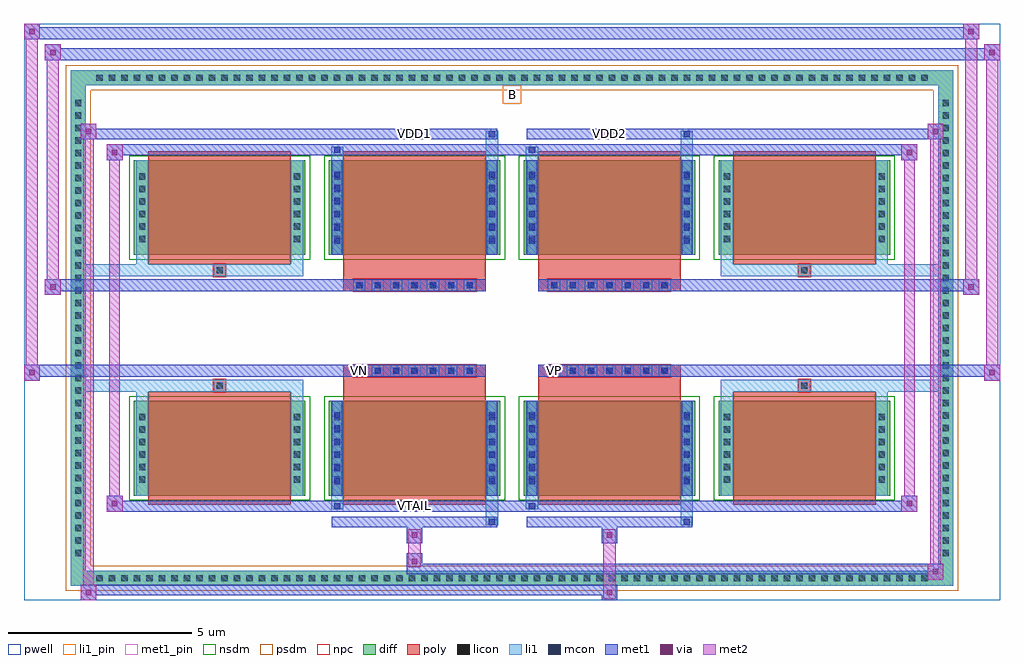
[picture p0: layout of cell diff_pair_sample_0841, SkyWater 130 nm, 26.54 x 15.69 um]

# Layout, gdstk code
import gdstk
lib = gdstk.Library(unit=1e-6, precision=5e-09)
def R(c, l, rs):  # rectangles x0, y0, x1, y1
    for r in rs: c.add(gdstk.rectangle(r[:2], r[2:], *l))
def A(c, l, x, y, w, h, nx, ny, dx, dy):  # array of equal rectangles
    R(c, l, [(x+i*dx, y+j*dy, x+i*dx+w, y+j*dy+h) for i in range(nx) for j in range(ny)])
def P(c, l, *ps):  # polygons
    for p in ps: c.add(gdstk.Polygon(p, *l))
pwell = (64, 44)
diff = (65, 20)
poly = (66, 20)
licon = (66, 44)
li1_pin = (67, 16)
li1 = (67, 20)
mcon = (67, 44)
met1_pin = (68, 16)
met1 = (68, 20)
via = (68, 44)
met2 = (69, 20)
nsdm = (93, 44)
psdm = (94, 20)
npc = (95, 20)

diff_pair_sample_0841 = lib.new_cell('diff_pair_sample_0841')
R(diff_pair_sample_0841, pwell, [(-13.27,-7.41,13.27,8.28), (-10.59,-5.6,-0.01,-0.8), (0.01,-5.6,10.59,-0.8), (-10.59,0.8,-0.01,5.6), (0.01,0.8,10.59,5.6)])
A(diff_pair_sample_0841, diff, -11.425, -7.01, 0.41, 0.41, 67, 2, 0.34, 13.61)
A(diff_pair_sample_0841, diff, -12, -6.325, 0.41, 0.41, 1, 37, 0, 0.34)
A(diff_pair_sample_0841, diff, 11.59, -6.325, 0.41, 0.41, 1, 37, 0, 0.34)
A(diff_pair_sample_0841, diff, -10.28, -4.555, 4.66, 2.57, 4, 2, 5.3, 6.54)
R(diff_pair_sample_0841, diff, [(-11.425,-7.01,11.425,-6.6), (-12,-6.325,-11.59,6.325), (11.59,-6.325,12,6.325), (-11.425,6.6,11.425,7.01)])
P(diff_pair_sample_0841, diff, [(12,7.01),(-12,7.01),(-12,-6.6),(-11.59,-6.6),(-11.59,6.6),(11.59,6.6),(11.59,-6.6),(-11.59,-6.6),(-12,-6.6),(-12,-7.01),(12,-7.01)])
A(diff_pair_sample_0841, poly, -9.89, -4.805, 3.88, 3.07, 4, 2, 5.3, 6.54)
A(diff_pair_sample_0841, poly, -4.315, -1.33, 0.33, 0.33, 7, 2, 0.5, 2.33)
A(diff_pair_sample_0841, poly, 0.985, -1.33, 0.33, 0.33, 7, 2, 0.5, 2.33)
R(diff_pair_sample_0841, poly, [(-8.115,-1.735,-7.785,-1.405), (-8.115,-1.735,-7.785,-1.405), (-4.59,-1.735,-0.71,-1.33), (0.71,-1.735,4.59,-1.33), (7.785,-1.735,8.115,-1.405), (7.785,-1.735,8.115,-1.405), (-4.59,-1.33,-0.71,-1), (0.71,-1.33,4.59,-1), (-4.59,1,-0.71,1.33), (0.71,1,4.59,1.33), (-4.59,1.33,-0.71,1.735), (0.71,1.33,4.59,1.735), (-8.115,1.405,-7.785,1.735), (-8.115,1.405,-7.785,1.735), (7.785,1.405,8.115,1.735), (7.785,1.405,8.115,1.735)])
A(diff_pair_sample_0841, licon, -11.305, -6.89, 0.17, 0.17, 67, 2, 0.34, 13.61)
A(diff_pair_sample_0841, licon, -11.88, -6.205, 0.17, 0.17, 1, 37, 0, 0.34)
A(diff_pair_sample_0841, licon, 11.71, -6.205, 0.17, 0.17, 1, 37, 0, 0.34)
A(diff_pair_sample_0841, licon, -10.14, -4.205, 0.17, 0.17, 1, 6, 0, 0.34)
A(diff_pair_sample_0841, licon, -5.93, -4.205, 0.17, 0.17, 1, 6, 0, 0.34)
A(diff_pair_sample_0841, licon, -4.84, -4.205, 0.17, 0.17, 1, 6, 0, 0.34)
A(diff_pair_sample_0841, licon, -0.63, -4.205, 0.17, 0.17, 1, 6, 0, 0.34)
A(diff_pair_sample_0841, licon, 0.46, -4.205, 0.17, 0.17, 1, 6, 0, 0.34)
A(diff_pair_sample_0841, licon, 4.67, -4.205, 0.17, 0.17, 1, 6, 0, 0.34)
A(diff_pair_sample_0841, licon, 5.76, -4.205, 0.17, 0.17, 1, 6, 0, 0.34)
A(diff_pair_sample_0841, licon, 9.97, -4.205, 0.17, 0.17, 1, 6, 0, 0.34)
A(diff_pair_sample_0841, licon, -4.235, -1.25, 0.17, 0.17, 7, 2, 0.5, 2.33)
A(diff_pair_sample_0841, licon, 1.065, -1.25, 0.17, 0.17, 7, 2, 0.5, 2.33)
A(diff_pair_sample_0841, licon, -10.14, 2.335, 0.17, 0.17, 1, 6, 0, 0.34)
A(diff_pair_sample_0841, licon, -5.93, 2.335, 0.17, 0.17, 1, 6, 0, 0.34)
A(diff_pair_sample_0841, licon, -4.84, 2.335, 0.17, 0.17, 1, 6, 0, 0.34)
A(diff_pair_sample_0841, licon, -0.63, 2.335, 0.17, 0.17, 1, 6, 0, 0.34)
A(diff_pair_sample_0841, licon, 0.46, 2.335, 0.17, 0.17, 1, 6, 0, 0.34)
A(diff_pair_sample_0841, licon, 4.67, 2.335, 0.17, 0.17, 1, 6, 0, 0.34)
A(diff_pair_sample_0841, licon, 5.76, 2.335, 0.17, 0.17, 1, 6, 0, 0.34)
A(diff_pair_sample_0841, licon, 9.97, 2.335, 0.17, 0.17, 1, 6, 0, 0.34)
R(diff_pair_sample_0841, licon, [(-8.035,-1.655,-7.865,-1.485), (7.865,-1.655,8.035,-1.485), (-8.035,1.485,-7.865,1.655), (7.865,1.485,8.035,1.655)])
R(diff_pair_sample_0841, li1_pin, [(-0.25,6.1,0.25,6.6)])
A(diff_pair_sample_0841, li1, -11.385, -6.97, 0.33, 0.33, 67, 2, 0.34, 13.61)
A(diff_pair_sample_0841, li1, -11.96, -6.285, 0.33, 0.33, 1, 37, 0, 0.34)
A(diff_pair_sample_0841, li1, 11.63, -6.285, 0.33, 0.33, 1, 37, 0, 0.34)
A(diff_pair_sample_0841, li1, -10.22, -4.285, 0.33, 0.33, 1, 6, 0, 0.34)
A(diff_pair_sample_0841, li1, -6.01, -4.285, 0.33, 0.33, 1, 6, 0, 0.34)
A(diff_pair_sample_0841, li1, -4.92, -4.285, 0.33, 0.33, 1, 6, 0, 0.34)
A(diff_pair_sample_0841, li1, -0.71, -4.285, 0.33, 0.33, 1, 6, 0, 0.34)
A(diff_pair_sample_0841, li1, 0.38, -4.285, 0.33, 0.33, 1, 6, 0, 0.34)
A(diff_pair_sample_0841, li1, 4.59, -4.285, 0.33, 0.33, 1, 6, 0, 0.34)
A(diff_pair_sample_0841, li1, 5.68, -4.285, 0.33, 0.33, 1, 6, 0, 0.34)
A(diff_pair_sample_0841, li1, 9.89, -4.285, 0.33, 0.33, 1, 6, 0, 0.34)
A(diff_pair_sample_0841, li1, -4.84, -4.255, 0.17, 0.17, 1, 6, 0, 0.36)
A(diff_pair_sample_0841, li1, -0.63, -4.255, 0.17, 0.17, 1, 6, 0, 0.36)
A(diff_pair_sample_0841, li1, 0.46, -4.255, 0.17, 0.17, 1, 6, 0, 0.36)
A(diff_pair_sample_0841, li1, 4.67, -4.255, 0.17, 0.17, 1, 6, 0, 0.36)
A(diff_pair_sample_0841, li1, -4.315, -1.33, 0.33, 0.33, 7, 2, 0.5, 2.33)
A(diff_pair_sample_0841, li1, 0.985, -1.33, 0.33, 0.33, 7, 2, 0.5, 2.33)
A(diff_pair_sample_0841, li1, -10.22, 2.255, 0.33, 0.33, 1, 6, 0, 0.34)
A(diff_pair_sample_0841, li1, -6.01, 2.255, 0.33, 0.33, 1, 6, 0, 0.34)
A(diff_pair_sample_0841, li1, -4.92, 2.255, 0.33, 0.33, 1, 6, 0, 0.34)
A(diff_pair_sample_0841, li1, -0.71, 2.255, 0.33, 0.33, 1, 6, 0, 0.34)
A(diff_pair_sample_0841, li1, 0.38, 2.255, 0.33, 0.33, 1, 6, 0, 0.34)
A(diff_pair_sample_0841, li1, 4.59, 2.255, 0.33, 0.33, 1, 6, 0, 0.34)
A(diff_pair_sample_0841, li1, 5.68, 2.255, 0.33, 0.33, 1, 6, 0, 0.34)
A(diff_pair_sample_0841, li1, 9.89, 2.255, 0.33, 0.33, 1, 6, 0, 0.34)
A(diff_pair_sample_0841, li1, -4.84, 2.285, 0.17, 0.17, 1, 6, 0, 0.36)
A(diff_pair_sample_0841, li1, -0.63, 2.285, 0.17, 0.17, 1, 6, 0, 0.36)
A(diff_pair_sample_0841, li1, 0.46, 2.285, 0.17, 0.17, 1, 6, 0, 0.36)
A(diff_pair_sample_0841, li1, 4.67, 2.285, 0.17, 0.17, 1, 6, 0, 0.36)
R(diff_pair_sample_0841, li1, [(-12,-7.01,-11.59,-6.6), (-12,-7.01,-11.59,-6.6), (-11.59,-7.01,11.59,-6.6), (11.59,-7.01,12,-6.6), (11.59,-7.01,12,-6.6), (-12,-6.6,-11.59,6.6), (11.59,-6.6,12,6.6), (-0.71,-5.36,-0.38,-4.555), (-0.63,-5.36,-0.46,-5.19), (4.59,-5.36,4.92,-4.555), (4.67,-5.36,4.84,-5.19), (-4.92,-4.93,-4.59,-4.555), (-4.84,-4.93,-4.67,-4.76), (0.38,-4.93,0.71,-4.555), (0.46,-4.93,0.63,-4.76), (-10.22,-4.555,-9.89,-1.985), (-6.01,-4.555,-5.68,-1.985), (-4.92,-4.555,-4.59,-1.985), (-0.71,-4.555,-0.38,-1.985), (0.38,-4.555,0.71,-1.985), (4.59,-4.555,4.92,-1.985), (5.68,-4.555,6.01,-1.985), (9.89,-4.555,10.22,-1.985), (-4.84,-4.255,-4.67,-2.285), (-0.63,-4.255,-0.46,-2.285), (0.46,-4.255,0.63,-2.285), (4.67,-4.255,4.84,-2.285), (-10.22,-1.985,-9.89,-1.405), (-6.01,-1.985,-5.68,-1.405), (5.68,-1.985,6.01,-1.405), (9.89,-1.985,10.22,-1.405), (-12,-1.735,-8.115,-1.405), (-10.22,-1.735,-8.115,-1.405), (-8.115,-1.735,-7.785,-1.405), (-7.785,-1.735,-5.68,-1.405), (5.68,-1.735,7.785,-1.405), (7.785,-1.735,8.115,-1.405), (7.785,-1.735,12,-1.405), (8.115,-1.735,10.22,-1.405), (-12,1.405,-8.115,1.735), (-10.22,1.405,-8.115,1.735), (-10.22,1.405,-9.89,1.985), (-8.115,1.405,-7.785,1.735), (-7.785,1.405,-5.68,1.735), (-6.01,1.405,-5.68,1.985), (5.68,1.405,7.785,1.735), (5.68,1.405,6.01,1.985), (7.785,1.405,8.115,1.735), (7.785,1.405,12,1.735), (8.115,1.405,10.22,1.735), (9.89,1.405,10.22,1.985), (-10.22,1.985,-9.89,4.555), (-6.01,1.985,-5.68,4.555), (-4.92,1.985,-4.59,4.555), (-0.71,1.985,-0.38,4.555), (0.38,1.985,0.71,4.555), (4.59,1.985,4.92,4.555), (5.68,1.985,6.01,4.555), (9.89,1.985,10.22,4.555), (-4.84,2.285,-4.67,4.255), (-0.63,2.285,-0.46,4.255), (0.46,2.285,0.63,4.255), (4.67,2.285,4.84,4.255), (-4.92,4.555,-4.59,4.93), (-0.71,4.555,-0.38,5.36), (0.38,4.555,0.71,4.93), (4.59,4.555,4.92,5.36), (-4.84,4.76,-4.67,4.93), (0.46,4.76,0.63,4.93), (-0.63,5.19,-0.46,5.36), (4.67,5.19,4.84,5.36), (-12,6.6,-11.59,7.01), (-12,6.6,-11.59,7.01), (-11.59,6.6,11.59,7.01), (11.59,6.6,12,7.01), (11.59,6.6,12,7.01)])
A(diff_pair_sample_0841, mcon, -4.84, -4.255, 0.17, 0.17, 1, 6, 0, 0.36)
A(diff_pair_sample_0841, mcon, -0.63, -4.255, 0.17, 0.17, 1, 6, 0, 0.36)
A(diff_pair_sample_0841, mcon, 0.46, -4.255, 0.17, 0.17, 1, 6, 0, 0.36)
A(diff_pair_sample_0841, mcon, 4.67, -4.255, 0.17, 0.17, 1, 6, 0, 0.36)
A(diff_pair_sample_0841, mcon, -4.235, -1.25, 0.17, 0.17, 7, 2, 0.5, 2.33)
A(diff_pair_sample_0841, mcon, 1.065, -1.25, 0.17, 0.17, 7, 2, 0.5, 2.33)
A(diff_pair_sample_0841, mcon, -4.84, 2.285, 0.17, 0.17, 1, 6, 0, 0.36)
A(diff_pair_sample_0841, mcon, -0.63, 2.285, 0.17, 0.17, 1, 6, 0, 0.36)
A(diff_pair_sample_0841, mcon, 0.46, 2.285, 0.17, 0.17, 1, 6, 0, 0.36)
A(diff_pair_sample_0841, mcon, 4.67, 2.285, 0.17, 0.17, 1, 6, 0, 0.36)
R(diff_pair_sample_0841, mcon, [(-0.63,-5.36,-0.46,-5.19), (4.67,-5.36,4.84,-5.19), (-4.84,-4.93,-4.67,-4.76), (0.46,-4.93,0.63,-4.76), (-4.84,4.76,-4.67,4.93), (0.46,4.76,0.63,4.93), (-0.63,5.19,-0.46,5.36), (4.67,5.19,4.84,5.36)])
R(diff_pair_sample_0841, met1_pin, [(-2.785,-4.97,-2.515,-4.7), (-4.285,-1.29,-4.015,-1.02), (1.015,-1.29,1.285,-1.02), (-2.785,5.15,-2.515,5.42), (2.515,5.15,2.785,5.42)])
A(diff_pair_sample_0841, met1, -4.9, -4.315, 0.29, 0.29, 1, 6, 0, 0.36)
A(diff_pair_sample_0841, met1, -0.69, -4.315, 0.29, 0.29, 1, 6, 0, 0.36)
A(diff_pair_sample_0841, met1, 0.4, -4.315, 0.29, 0.29, 1, 6, 0, 0.36)
A(diff_pair_sample_0841, met1, 4.61, -4.315, 0.29, 0.29, 1, 6, 0, 0.36)
A(diff_pair_sample_0841, met1, -4.295, -1.31, 0.29, 0.29, 7, 2, 0.5, 2.33)
A(diff_pair_sample_0841, met1, 1.005, -1.31, 0.29, 0.29, 7, 2, 0.5, 2.33)
A(diff_pair_sample_0841, met1, -4.9, 2.225, 0.29, 0.29, 1, 6, 0, 0.36)
A(diff_pair_sample_0841, met1, -0.69, 2.225, 0.29, 0.29, 1, 6, 0, 0.36)
A(diff_pair_sample_0841, met1, 0.4, 2.225, 0.29, 0.29, 1, 6, 0, 0.36)
A(diff_pair_sample_0841, met1, 4.61, 2.225, 0.29, 0.29, 1, 6, 0, 0.36)
R(diff_pair_sample_0841, met1, [(-11.73,-7.41,-11.3,-6.98), (2.435,-7.41,2.865,-6.98), (-11.73,-7.27,2.865,-6.98), (11.3,-6.84,11.73,-6.41), (-2.865,-6.7,11.73,-6.41), (-2.865,-6.56,-2.435,-6.13), (-2.865,-5.85,-2.435,-5.42), (2.435,-5.85,2.865,-5.42), (-4.9,-5.42,-0.4,-5.13), (-0.69,-5.42,-0.4,-5.13), (0.4,-5.42,4.9,-5.13), (4.61,-5.42,4.9,-5.13), (-11.02,-4.99,-10.59,-4.56), (-11.02,-4.99,-4.9,-4.7), (-4.9,-4.99,-4.61,-4.7), (-4.9,-4.99,-0.4,-4.7), (-0.4,-4.99,0.4,-4.7), (0.4,-4.99,0.69,-4.7), (0.4,-4.99,4.9,-4.7), (4.9,-4.99,11.02,-4.7), (10.59,-4.99,11.02,-4.56), (-4.9,-4.555,-4.61,-1.985), (-0.69,-4.555,-0.4,-1.985), (0.4,-4.555,0.69,-1.985), (4.61,-4.555,4.9,-1.985), (-13.27,-1.43,-12.84,-1), (12.84,-1.43,13.27,-1), (-13.27,-1.33,-0.71,-1), (-4.59,-1.33,-0.71,-1), (0.71,-1.33,4.59,-1), (0.71,-1.33,13.27,-1), (-12.7,0.9,-12.27,1.33), (12.27,0.9,12.7,1.33), (-12.7,1,-4.59,1.33), (-4.59,1,-0.71,1.33), (0.71,1,4.59,1.33), (4.59,1,12.7,1.33), (-4.9,1.985,-4.61,4.555), (-0.69,1.985,-0.4,4.555), (0.4,1.985,0.69,4.555), (4.61,1.985,4.9,4.555), (-11.02,4.56,-10.59,4.99), (10.59,4.56,11.02,4.99), (-11.02,4.7,-4.9,4.99), (-4.9,4.7,-4.61,4.99), (-4.9,4.7,-0.4,4.99), (-0.4,4.7,0.4,4.99), (0.4,4.7,0.69,4.99), (0.4,4.7,4.9,4.99), (4.9,4.7,11.02,4.99), (-11.73,5.13,-11.3,5.56), (-11.73,5.13,-4.9,5.42), (-4.9,5.13,-0.4,5.42), (-0.69,5.13,-0.4,5.42), (0.4,5.13,4.9,5.42), (4.61,5.13,4.9,5.42), (4.9,5.13,11.73,5.42), (11.3,5.13,11.73,5.56), (-12.7,7.28,-12.27,7.71), (-12.7,7.28,-10.59,7.61), (-10.59,7.28,10.59,7.61), (10.59,7.28,13.27,7.61), (12.84,7.28,13.27,7.71), (-13.27,7.85,-12.84,8.28), (-13.27,7.85,-10.59,8.18), (-10.59,7.85,10.59,8.18), (10.59,7.85,12.7,8.18), (12.27,7.85,12.7,8.28)])
R(diff_pair_sample_0841, via, [(-11.59,-7.27,-11.44,-7.12), (2.575,-7.27,2.725,-7.12), (11.44,-6.7,11.59,-6.55), (-2.725,-6.42,-2.575,-6.27), (-2.725,-5.71,-2.575,-5.56), (2.575,-5.71,2.725,-5.56), (-10.88,-4.85,-10.73,-4.7), (10.73,-4.85,10.88,-4.7), (-13.13,-1.29,-12.98,-1.14), (12.98,-1.29,13.13,-1.14), (-12.56,1.04,-12.41,1.19), (12.41,1.04,12.56,1.19), (-10.88,4.7,-10.73,4.85), (10.73,4.7,10.88,4.85), (-11.59,5.27,-11.44,5.42), (11.44,5.27,11.59,5.42), (-12.56,7.42,-12.41,7.57), (12.98,7.42,13.13,7.57), (-13.13,7.99,-12.98,8.14), (12.41,7.99,12.56,8.14)])
R(diff_pair_sample_0841, met2, [(-11.73,-7.41,-11.3,-6.98), (-11.66,-7.41,-11.37,5.56), (-11.37,-7.41,-11.3,-6.98), (-11.68,-7.36,-11.35,-7.03), (2.485,-7.36,2.815,-7.03), (2.485,-7.03,2.815,-5.8), (11.3,-6.84,11.73,-6.41), (11.37,-6.84,11.66,5.56), (11.66,-6.84,11.73,-6.41), (11.35,-6.79,11.68,-6.46), (-2.815,-6.51,-2.485,-6.18), (-2.815,-6.18,-2.485,-5.8), (-2.815,-5.8,-2.485,-5.47), (2.485,-5.8,2.815,-5.47), (-11.02,-4.99,-10.59,-4.56), (-10.95,-4.99,-10.66,4.99), (-10.66,-4.99,-10.59,-4.56), (10.59,-4.99,11.02,-4.56), (10.66,-4.99,10.95,4.99), (10.95,-4.99,11.02,-4.56), (-10.97,-4.94,-10.64,-4.61), (10.64,-4.94,10.97,-4.61), (-13.27,-1.43,-12.84,-1), (-13.22,-1.43,-12.89,8.28), (-12.89,-1.43,-12.84,-1), (12.84,-1.43,13.27,-1), (12.89,-1.43,13.22,7.71), (13.22,-1.43,13.27,-1), (-13.22,-1.38,-12.89,-1.05), (12.89,-1.38,13.22,-1.05), (-12.7,0.9,-12.27,1.33), (-12.65,0.9,-12.32,7.71), (-12.32,0.9,-12.27,1.33), (12.27,0.9,12.7,1.33), (12.32,0.9,12.65,8.28), (12.65,0.9,12.7,1.33), (-12.65,0.95,-12.32,1.28), (12.32,0.95,12.65,1.28), (-11.02,4.56,-10.59,4.99), (-10.66,4.56,-10.59,4.99), (10.59,4.56,11.02,4.99), (10.95,4.56,11.02,4.99), (-10.97,4.61,-10.64,4.94), (10.64,4.61,10.97,4.94), (-11.73,5.13,-11.3,5.56), (-11.37,5.13,-11.3,5.56), (11.3,5.13,11.73,5.56), (11.66,5.13,11.73,5.56), (-11.68,5.18,-11.35,5.51), (11.35,5.18,11.68,5.51), (-12.7,7.28,-12.27,7.71), (-12.32,7.28,-12.27,7.71), (12.84,7.28,13.27,7.71), (13.22,7.28,13.27,7.71), (-12.65,7.33,-12.32,7.66), (12.89,7.33,13.22,7.66), (-13.27,7.85,-12.84,8.28), (-12.89,7.85,-12.84,8.28), (12.27,7.85,12.7,8.28), (12.65,7.85,12.7,8.28), (-13.22,7.9,-12.89,8.23), (12.32,7.9,12.65,8.23)])
A(diff_pair_sample_0841, nsdm, -10.41, -4.685, 4.92, 2.83, 4, 2, 5.3, 6.54)
P(diff_pair_sample_0841, psdm, [(12.13,7.14),(-12.13,7.14),(-12.13,-6.47),(-11.46,-6.47),(-11.46,6.47),(11.46,6.47),(11.46,-6.47),(-11.46,-6.47),(-12.13,-6.47),(-12.13,-7.14),(12.13,-7.14)])
A(diff_pair_sample_0841, npc, -4.335, -1.35, 0.37, 0.37, 7, 2, 0.5, 2.33)
A(diff_pair_sample_0841, npc, 0.965, -1.35, 0.37, 0.37, 7, 2, 0.5, 2.33)
R(diff_pair_sample_0841, npc, [(-8.135,-1.755,-7.765,-1.385), (7.765,-1.755,8.135,-1.385), (-4.335,-1.35,-3.465,-0.98), (-4.335,-1.35,-3.465,-0.98), (-3.835,-1.35,-2.965,-0.98), (-3.835,-1.35,-2.965,-0.98), (-3.335,-1.35,-2.465,-0.98), (-3.335,-1.35,-2.465,-0.98), (-2.835,-1.35,-1.965,-0.98), (-2.835,-1.35,-1.965,-0.98), (-2.335,-1.35,-1.465,-0.98), (-2.335,-1.35,-1.465,-0.98), (-1.835,-1.35,-0.965,-0.98), (-1.835,-1.35,-0.965,-0.98), (0.965,-1.35,1.835,-0.98), (0.965,-1.35,1.835,-0.98), (1.465,-1.35,2.335,-0.98), (1.465,-1.35,2.335,-0.98), (1.965,-1.35,2.835,-0.98), (1.965,-1.35,2.835,-0.98), (2.465,-1.35,3.335,-0.98), (2.465,-1.35,3.335,-0.98), (2.965,-1.35,3.835,-0.98), (2.965,-1.35,3.835,-0.98), (3.465,-1.35,4.335,-0.98), (3.465,-1.35,4.335,-0.98), (-4.335,0.98,-3.465,1.35), (-4.335,0.98,-3.465,1.35), (-3.835,0.98,-2.965,1.35), (-3.835,0.98,-2.965,1.35), (-3.335,0.98,-2.465,1.35), (-3.335,0.98,-2.465,1.35), (-2.835,0.98,-1.965,1.35), (-2.835,0.98,-1.965,1.35), (-2.335,0.98,-1.465,1.35), (-2.335,0.98,-1.465,1.35), (-1.835,0.98,-0.965,1.35), (-1.835,0.98,-0.965,1.35), (0.965,0.98,1.835,1.35), (0.965,0.98,1.835,1.35), (1.465,0.98,2.335,1.35), (1.465,0.98,2.335,1.35), (1.965,0.98,2.835,1.35), (1.965,0.98,2.835,1.35), (2.465,0.98,3.335,1.35), (2.465,0.98,3.335,1.35), (2.965,0.98,3.835,1.35), (2.965,0.98,3.835,1.35), (3.465,0.98,4.335,1.35), (3.465,0.98,4.335,1.35), (-8.135,1.385,-7.765,1.755), (7.765,1.385,8.135,1.755)])
diff_pair_sample_0841.add(gdstk.Label('VTAIL', (-2.65,-4.835), layer=68, texttype=5))
diff_pair_sample_0841.add(gdstk.Label('VN', (-4.15,-1.155), layer=68, texttype=5))
diff_pair_sample_0841.add(gdstk.Label('VP', (1.15,-1.155), layer=68, texttype=5))
diff_pair_sample_0841.add(gdstk.Label('B', (0,6.35), layer=67, texttype=5))
diff_pair_sample_0841.add(gdstk.Label('VDD2', (2.65,5.285), layer=68, texttype=5))
diff_pair_sample_0841.add(gdstk.Label('VDD1', (-2.65,5.285), layer=68, texttype=5))

lib.write_gds('diff_pair_sample_0841.gds')
